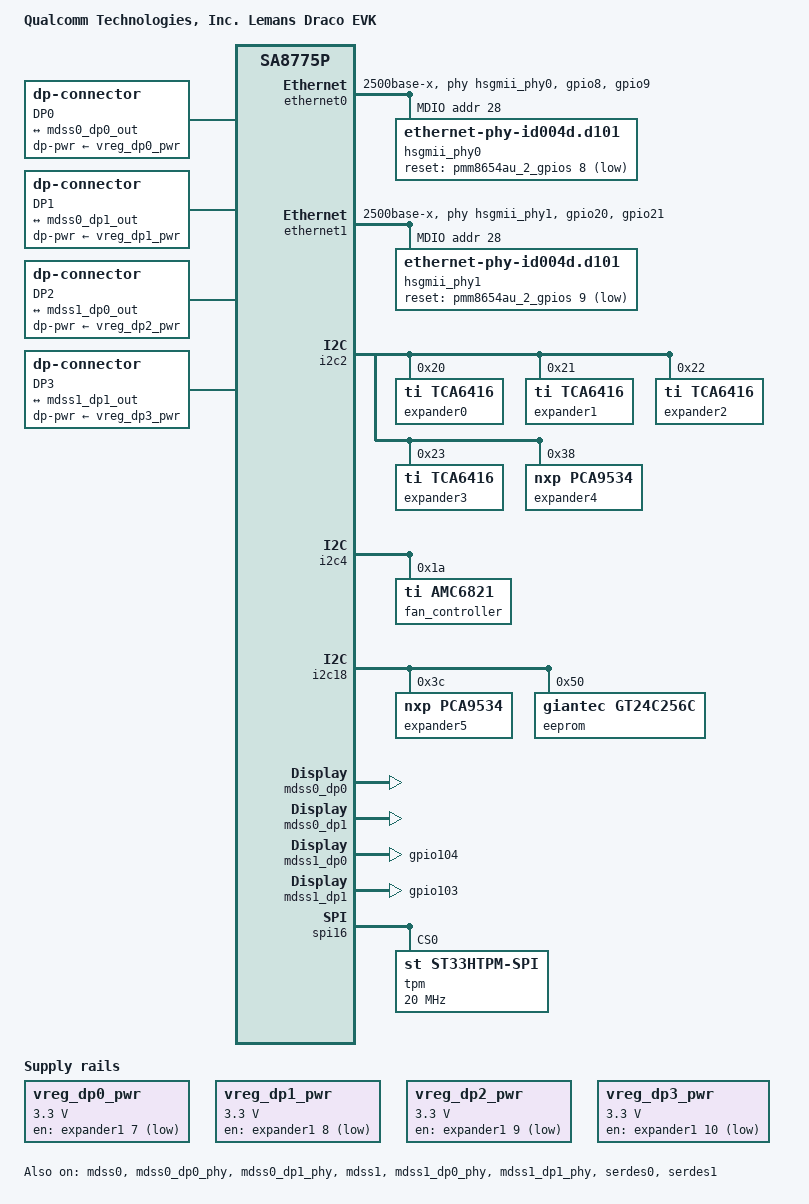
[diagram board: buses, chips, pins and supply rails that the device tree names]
// SPDX-License-Identifier: BSD-3-Clause
/*
 * Copyright (c) Qualcomm Technologies, Inc. and/or its subsidiaries.
 */
/dts-v1/;

#include <dt-bindings/pwm/pwm.h>
#include "lemans-draco-evk-som.dtsi"

/ {
	model = "Qualcomm Technologies, Inc. Lemans Draco EVK";
	compatible = "qcom,lemans-draco-evk", "qcom,qcs9100",
		     "qcom,sa8775p";
	chassis-type = "embedded";

	aliases {
		ethernet0 = &ethernet0;
		ethernet1 = &ethernet1;
	};

	dp0-connector {
		compatible = "dp-connector";
		label = "DP0";
		type = "full-size";

		dp-pwr-supply = <&vreg_dp0_pwr>;

		port {
			dp0_connector_in: endpoint {
				remote-endpoint = <&mdss0_dp0_out>;
			};
		};
	};

	dp1-connector {
		compatible = "dp-connector";
		label = "DP1";
		type = "full-size";

		dp-pwr-supply = <&vreg_dp1_pwr>;

		port {
			dp1_connector_in: endpoint {
				remote-endpoint = <&mdss0_dp1_out>;
			};
		};
	};

	dp2-connector {
		compatible = "dp-connector";
		label = "DP2";
		type = "full-size";

		dp-pwr-supply = <&vreg_dp2_pwr>;

		port {
			dp2_connector_in: endpoint {
				remote-endpoint = <&mdss1_dp0_out>;
			};
		};
	};

	dp3-connector {
		compatible = "dp-connector";
		label = "DP3";
		type = "full-size";

		dp-pwr-supply = <&vreg_dp3_pwr>;

		port {
			dp3_connector_in: endpoint {
				remote-endpoint = <&mdss1_dp1_out>;
			};
		};
	};

	vreg_dp0_pwr: regulator-dp0-pwr {
		compatible = "regulator-fixed";
		regulator-name = "VREG_DP0_PWR_3P3";

		regulator-min-microvolt = <3300000>;
		regulator-max-microvolt = <3300000>;

		gpio = <&expander1 7 GPIO_ACTIVE_HIGH>;
	};

	vreg_dp1_pwr: regulator-dp1-pwr {
		compatible = "regulator-fixed";
		regulator-name = "VREG_DP1_PWR_3P3";

		regulator-min-microvolt = <3300000>;
		regulator-max-microvolt = <3300000>;

		gpio = <&expander1 8 GPIO_ACTIVE_HIGH>;
	};

	vreg_dp2_pwr: regulator-dp2-pwr {
		compatible = "regulator-fixed";
		regulator-name = "VREG_DP2_PWR_3P3";

		regulator-min-microvolt = <3300000>;
		regulator-max-microvolt = <3300000>;

		gpio = <&expander1 9 GPIO_ACTIVE_HIGH>;
	};

	vreg_dp3_pwr: regulator-dp3-pwr {
		compatible = "regulator-fixed";
		regulator-name = "VREG_DP3_PWR_3P3";

		regulator-min-microvolt = <3300000>;
		regulator-max-microvolt = <3300000>;

		gpio = <&expander1 10 GPIO_ACTIVE_HIGH>;
	};
};

&ethernet0 {
	phy-handle = <&hsgmii_phy0>;
	phy-mode = "2500base-x";

	pinctrl-0 = <&ethernet0_default>;
	pinctrl-names = "default";

	snps,mtl-rx-config = <&mtl_rx_setup>;
	snps,mtl-tx-config = <&mtl_tx_setup>;

	nvmem-cells = <&mac_addr0>;
	nvmem-cell-names = "mac-address";

	status = "okay";

	mdio {
		compatible = "snps,dwmac-mdio";
		#address-cells = <1>;
		#size-cells = <0>;

		hsgmii_phy0: ethernet-phy@1c {
			compatible = "ethernet-phy-id004d.d101";
			reg = <0x1c>;
			reset-gpios = <&pmm8654au_2_gpios 8 GPIO_ACTIVE_LOW>;
			reset-assert-us = <11000>;
			reset-deassert-us = <70000>;
		};
	};

	mtl_rx_setup: rx-queues-config {
		snps,rx-queues-to-use = <4>;
		snps,rx-sched-sp;

		queue0 {
			snps,dcb-algorithm;
			snps,map-to-dma-channel = <0x0>;
			snps,route-up;
			snps,priority = <0x1>;
		};

		queue1 {
			snps,dcb-algorithm;
			snps,map-to-dma-channel = <0x1>;
			snps,route-ptp;
		};

		queue2 {
			snps,avb-algorithm;
			snps,map-to-dma-channel = <0x2>;
			snps,route-avcp;
		};

		queue3 {
			snps,avb-algorithm;
			snps,map-to-dma-channel = <0x3>;
			snps,priority = <0xc>;
		};
	};

	mtl_tx_setup: tx-queues-config {
		snps,tx-queues-to-use = <4>;

		queue0 {
			snps,dcb-algorithm;
		};

		queue1 {
			snps,dcb-algorithm;
		};

		queue2 {
			snps,avb-algorithm;
			snps,send_slope = <0x1000>;
			snps,idle_slope = <0x1000>;
			snps,high_credit = <0x3e800>;
			snps,low_credit = <0xffc18000>;
		};

		queue3 {
			snps,avb-algorithm;
			snps,send_slope = <0x1000>;
			snps,idle_slope = <0x1000>;
			snps,high_credit = <0x3e800>;
			snps,low_credit = <0xffc18000>;
		};
	};
};

&ethernet1 {
	phy-handle = <&hsgmii_phy1>;
	phy-mode = "2500base-x";

	pinctrl-0 = <&ethernet1_default>;
	pinctrl-names = "default";

	snps,mtl-rx-config = <&mtl_rx_setup1>;
	snps,mtl-tx-config = <&mtl_tx_setup1>;

	nvmem-cells = <&mac_addr1>;
	nvmem-cell-names = "mac-address";

	status = "okay";

	mdio {
		compatible = "snps,dwmac-mdio";
		#address-cells = <1>;
		#size-cells = <0>;

		hsgmii_phy1: ethernet-phy@1c {
			compatible = "ethernet-phy-id004d.d101";
			reg = <0x1c>;
			reset-gpios = <&pmm8654au_2_gpios 9 GPIO_ACTIVE_LOW>;
			reset-assert-us = <11000>;
			reset-deassert-us = <70000>;
		};
	};

	mtl_rx_setup1: rx-queues-config {
		snps,rx-queues-to-use = <4>;
		snps,rx-sched-sp;

		queue0 {
			snps,dcb-algorithm;
			snps,map-to-dma-channel = <0x0>;
			snps,route-up;
			snps,priority = <0x1>;
		};

		queue1 {
			snps,dcb-algorithm;
			snps,map-to-dma-channel = <0x1>;
			snps,route-ptp;
		};

		queue2 {
			snps,avb-algorithm;
			snps,map-to-dma-channel = <0x2>;
			snps,route-avcp;
		};

		queue3 {
			snps,avb-algorithm;
			snps,map-to-dma-channel = <0x3>;
			snps,priority = <0xc>;
		};
	};

	mtl_tx_setup1: tx-queues-config {
		snps,tx-queues-to-use = <4>;

		queue0 {
			snps,dcb-algorithm;
		};

		queue1 {
			snps,dcb-algorithm;
		};

		queue2 {
			snps,avb-algorithm;
			snps,send_slope = <0x1000>;
			snps,idle_slope = <0x1000>;
			snps,high_credit = <0x3e800>;
			snps,low_credit = <0xffc18000>;
		};

		queue3 {
			snps,avb-algorithm;
			snps,send_slope = <0x1000>;
			snps,idle_slope = <0x1000>;
			snps,high_credit = <0x3e800>;
			snps,low_credit = <0xffc18000>;
		};
	};
};

&i2c2 {
	status = "okay";

	expander0: gpio@20 {
		compatible = "ti,tca6416";
		reg = <0x20>;
		#gpio-cells = <2>;
		gpio-controller;
	};

	expander1: gpio@21 {
		compatible = "ti,tca6416";
		reg = <0x21>;
		#gpio-cells = <2>;
		gpio-controller;
	};

	expander2: gpio@22 {
		compatible = "ti,tca6416";
		reg = <0x22>;
		#gpio-cells = <2>;
		gpio-controller;
	};

	expander3: gpio@23 {
		compatible = "ti,tca6416";
		reg = <0x23>;
		#gpio-cells = <2>;
		gpio-controller;
	};

	expander4: gpio@38 {
		compatible = "nxp,pca9534";
		reg = <0x38>;
		#gpio-cells = <2>;
		gpio-controller;
	};
};

&i2c4 {
	status = "okay";

	fan_controller: fan@1a {
		compatible = "ti,amc6821";
		reg = <0x1a>;
		#pwm-cells = <2>;

		fan {
			pwms = <&fan_controller 40000 PWM_POLARITY_INVERTED>;
		};
	};
};

&i2c18 {
	status = "okay";

	expander5: gpio@3c {
		compatible = "nxp,pca9534";
		reg = <0x3c>;
		#gpio-cells = <2>;
		gpio-controller;
	};

	eeprom@50 {
		compatible = "giantec,gt24c256c", "atmel,24c256";
		reg = <0x50>;
		pagesize = <64>;

		nvmem-layout {
			compatible = "fixed-layout";
			#address-cells = <1>;
			#size-cells = <1>;

			mac_addr0: mac-addr@0 {
				reg = <0x0 0x6>;
			};

			mac_addr1: mac-addr@6 {
				reg = <0x6 0x6>;
			};
		};
	};
};

&mdss0 {
	status = "okay";
};

&mdss0_dp0 {
	pinctrl-0 = <&dp0_hot_plug_det>;
	pinctrl-names = "default";

	status = "okay";
};

&mdss0_dp0_out {
	data-lanes = <0 1 2 3>;
	link-frequencies = /bits/ 64 <1620000000 2700000000 5400000000 8100000000>;

	remote-endpoint = <&dp0_connector_in>;
};

&mdss0_dp0_phy {
	vdda-phy-supply = <&vreg_l1c>;
	vdda-pll-supply = <&vreg_l4a>;

	status = "okay";
};

&mdss0_dp1 {
	pinctrl-0 = <&dp1_hot_plug_det>;
	pinctrl-names = "default";

	status = "okay";
};

&mdss0_dp1_out {
	data-lanes = <0 1 2 3>;
	link-frequencies = /bits/ 64 <1620000000 2700000000 5400000000 8100000000>;

	remote-endpoint = <&dp1_connector_in>;
};

&mdss0_dp1_phy {
	vdda-phy-supply = <&vreg_l1c>;
	vdda-pll-supply = <&vreg_l4a>;

	status = "okay";
};

&mdss1 {
	status = "okay";
};

&mdss1_dp0 {
	pinctrl-0 = <&dp2_hot_plug_det>;
	pinctrl-names = "default";

	status = "okay";
};

&mdss1_dp0_out {
	data-lanes = <0 1 2 3>;
	link-frequencies = /bits/ 64 <1620000000 2700000000 5400000000 8100000000>;

	remote-endpoint = <&dp2_connector_in>;
};

&mdss1_dp0_phy {
	vdda-phy-supply = <&vreg_l1c>;
	vdda-pll-supply = <&vreg_l4a>;

	status = "okay";
};

&mdss1_dp1 {
	pinctrl-0 = <&dp3_hot_plug_det>;
	pinctrl-names = "default";

	status = "okay";
};

&mdss1_dp1_out {
	data-lanes = <0 1 2 3>;
	link-frequencies = /bits/ 64 <1620000000 2700000000 5400000000 8100000000>;

	remote-endpoint = <&dp3_connector_in>;
};

&mdss1_dp1_phy {
	vdda-phy-supply = <&vreg_l1c>;
	vdda-pll-supply = <&vreg_l4a>;

	status = "okay";
};

&qup_i2c4_default {
	drive-strength = <6>;
	bias-pull-up;
};

&serdes0 {
	phy-supply = <&vreg_l5a>;

	status = "okay";
};

&serdes1 {
	phy-supply = <&vreg_l5a>;

	status = "okay";
};

&spi16 {
	status = "okay";

	tpm@0 {
		compatible = "st,st33htpm-spi", "tcg,tpm_tis-spi";
		reg = <0>;
		spi-max-frequency = <20000000>;
	};
};

&tlmm {

	dp2_hot_plug_det: dp2-hot-plug-det-state {
		pins = "gpio104";
		function = "edp2_hot";
		bias-disable;
	};

	dp3_hot_plug_det: dp3-hot-plug-det-state {
		pins = "gpio103";
		function = "edp3_hot";
		bias-disable;
	};

	ethernet0_default: ethernet0-default-state {
		ethernet0-mdc-pins {
			pins = "gpio8";
			function = "emac0_mdc";
			drive-strength = <16>;
			bias-pull-up;
		};

		ethernet0-mdio-pins {
			pins = "gpio9";
			function = "emac0_mdio";
			drive-strength = <16>;
			bias-pull-up;
		};
	};

	ethernet1_default: ethernet1-default-state {
		ethernet1-mdc-pins {
			pins = "gpio20";
			function = "emac1_mdc";
			drive-strength = <16>;
			bias-pull-up;
		};

		ethernet1-mdio-pins {
			pins = "gpio21";
			function = "emac1_mdio";
			drive-strength = <16>;
			bias-pull-up;
		};
	};

};
